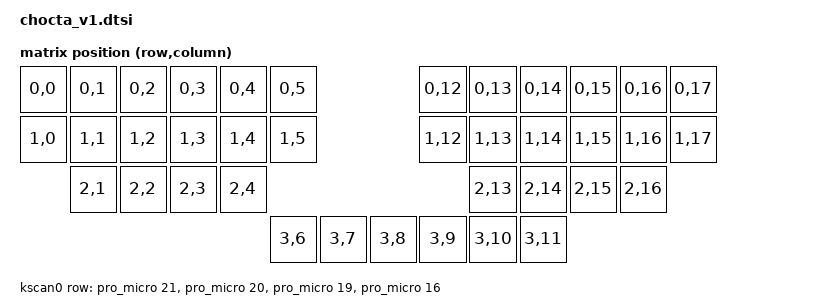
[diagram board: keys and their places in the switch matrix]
#include <dt-bindings/zmk/matrix_transform.h>

/ {
    chosen {
        zmk,kscan = &kscan0;
        zmk,matrix_transform = &default_transform;
    };

    default_transform: keymap_transform_0 {
        compatible = "zmk,matrix-transform";
        columns = <18>;
        rows = <4>;
// | SW6  | SW5  | SW4  | SW3  | SW2  | SW1  |                                                    | SW1  | SW2  | SW3  | SW4  | SW5  | SW6  |
// | SW12 | SW11 | SW10 | SW9  | SW8  | SW7  |                                                    | SW7  | SW8  | SW9  | SW10 | SW11 | SW12 |
//        | SW16 | SW15 | SW14 | SW13 |                                                                  | SW13 | SW14 | SW15 | SW16 |
//                                           | SW19 | SW18 | SW17 |          | SW17 | SW18 | SW19 |

        map = <
RC(0,0) RC(0,1) RC(0,2) RC(0,3) RC(0,4) RC(0,5)                                                    RC(0,12) RC(0,13) RC(0,14) RC(0,15) RC(0,16) RC(0,17)
RC(1,0) RC(1,1) RC(1,2) RC(1,3) RC(1,4) RC(1,5)                                                    RC(1,12) RC(1,13) RC(1,14) RC(1,15) RC(1,16) RC(1,17)
        RC(2,1) RC(2,2) RC(2,3) RC(2,4)                                                                     RC(2,13) RC(2,14) RC(2,15) RC(2,16)
                                                RC(3,6) RC(3,7) RC(3,8)  RC(3,9) RC(3,10) RC(3,11)
        >;
    };

    kscan0: kscan {
        compatible = "zmk,kscan-gpio-matrix";

        diode-direction = "col2row";
        row-gpios
            = <&pro_micro 21 (GPIO_ACTIVE_HIGH | GPIO_PULL_DOWN)> // Row A from the schematic file
            , <&pro_micro 20 (GPIO_ACTIVE_HIGH | GPIO_PULL_DOWN)> // Row B from the schematic file
            , <&pro_micro 19 (GPIO_ACTIVE_HIGH | GPIO_PULL_DOWN)> // Row C from the schematic file
            , <&pro_micro 16 (GPIO_ACTIVE_HIGH | GPIO_PULL_DOWN)> // Row D from the schematic file
            ;

    };
};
